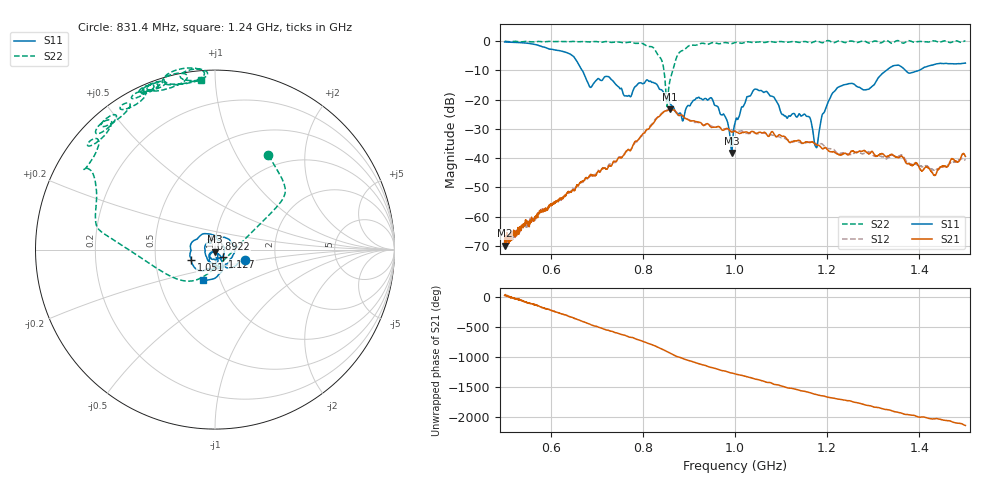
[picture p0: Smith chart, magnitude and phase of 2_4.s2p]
!Agilent Technologies,E8364B,US42250235,A.06.04.32
!Agilent E8364B: A.06.04.32
!Date: Thursday, October 01, 2020 16:03:05
!Correction: S11(Full 2 Port(1,2)) S21(Full 2 Port(1,2)) S12(Full 2 Port(1,2)) S22(Full 2 Port(1,2))
!S2P File: Measurements: S11, S21, S12, S22:
# Hz S  dB  R 50
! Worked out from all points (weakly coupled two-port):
!   2650 points, 500 MHz to 1.5 GHz, reference 50 ohm
!   highest |S21| = -23.36 dB at 858.6 MHz (marker M1); lowest = -70.0 dB at 500.4 MHz (marker M2)
!   lowest |S11| = -38.2 dB at 993 MHz (marker M3), VSWR 1.02, Z = 49.9 - j1.22 ohm
!   |S11| at or under -10 dB: 668.5 MHz to 1.328 GHz (659.6 MHz wide, 66.1 % of centre); 1.37 GHz to 1.399 GHz (29.41 MHz wide, 2.12 % of centre)
!   |S22| runs from -22.3 to 0.3 dB; largest |S21 - S12| = 0.016
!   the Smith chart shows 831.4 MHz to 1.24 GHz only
!   S11 on the Smith chart (normalised r, x): 831.4 MHz: 1.40, -0.16; 892.2 MHz: 0.95, +0.12; 1.051 GHz: 0.76, -0.09; 1.127 GHz: 1.09, -0.09; 1.24 GHz: 0.83, -0.29
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5e8  -0.26 -175.1  -67.47 22.4  -68.47 30.9  -0.03 143.5
5.003775e8  -0.26 -175.3  -70.00 28.2  -70.12 33.1  -0.03 143.7
5.853152e8  -2.02 130.4  -58.21 174.5  -57.63 170.8  -0.23 129.7
6.668554e8  -9.67 58.0  -48.02 -44.0  -48.13 -38.7  -0.11 124.6
7.952057e8  -14.23 53.3  -32.55 -8.5  -32.77 1.6  -0.66 98.3
8.314458e8  -15.00 -18.1  -26.15 -116.1  -26.06 -104.1  -4.38 60.4
8.337108e8  -15.76 -23.6  -25.88 -124.9  -25.81 -111.9  -4.93 53.0
8.518309e8  -19.68 -64.7  -23.82 168.7  -23.58 -177.5  -22.01 -29.5
8.586259e8  -21.24 -86.6  -23.36 142.8  -23.11 155.6  -13.57 -124.5
8.922235e8  -23.71 111.8  -26.38 35.0  -26.23 48.9  -2.64 153.5
9.480936e8  -19.33 -77.4  -29.45 -97.6  -29.02 -82.0  -0.64 129.0
9.930162e8  -38.23 -94.5  -31.10 168.8  -30.34 -178.0  -0.82 123.8
1.000189e9  -27.86 -67.7  -30.83 154.0  -30.70 167.4  -0.45 120.6
1.051151e9  -16.83 -156.3  -31.25 56.6  -31.67 67.9  -0.23 114.2
1.126652e9  -24.76 -42.6  -34.17 -91.7  -34.52 -82.9  -0.11 110.5
1.166667e9  -28.68 -134.8  -34.41 -168.2  -34.52 -157.8  -0.51 101.9
1.176482e9  -36.38 -94.8  -35.43 169.3  -35.04 -177.5  0.04 102.6
1.206682e9  -19.38 -66.5  -37.79 119.0  -36.76 125.9  -0.01 106.4
1.239524e9  -14.83 -112.4  -38.36 74.6  -38.43 76.6  -0.47 94.8
1.333522e9  -9.33 -140.7  -39.17 -84.9  -39.80 -78.0  -0.05 98.4
1.432427e9  -7.97 168.4  -45.83 124.2  -44.13 123.9  0.13 77.7
1.5e9  -7.49 140.8  -39.39 14.5  -40.75 19.2  0.15 72.8
